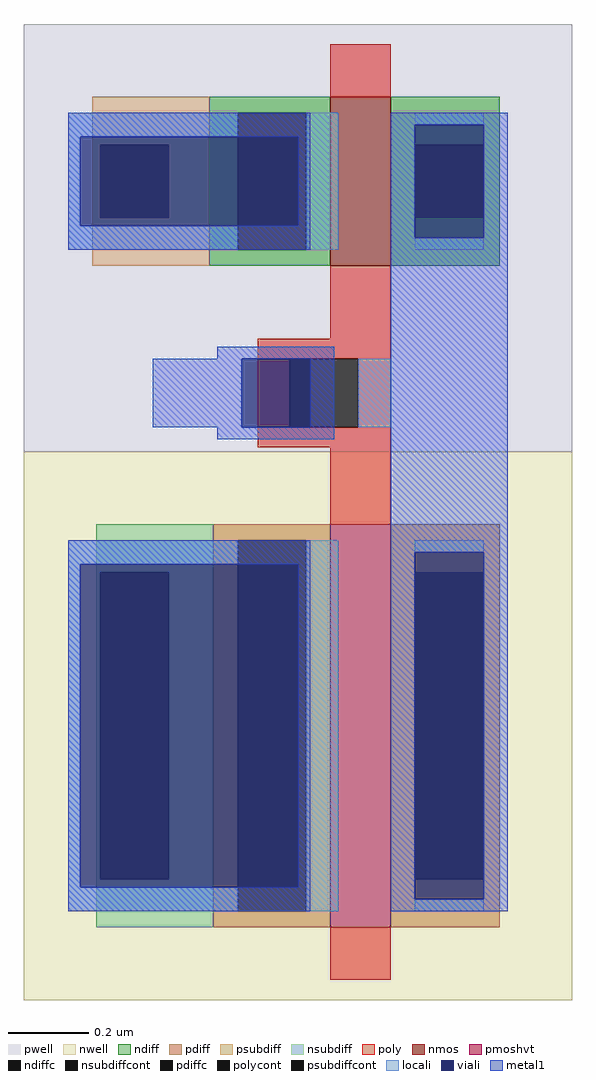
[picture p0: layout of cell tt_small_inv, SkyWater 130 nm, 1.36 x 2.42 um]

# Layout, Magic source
magic
tech sky130A
<< nwell >>
rect 334 2422 470 2558
<< pwell >>
rect 334 2558 470 2664
<< nmos >>
rect 410 2604 425 2646
<< pmoshvt >>
rect 410 2440 425 2540
<< ndiff >>
rect 380 2642 410 2646
rect 380 2608 387 2642
rect 404 2608 410 2642
rect 380 2604 410 2608
rect 425 2634 452 2646
rect 425 2616 431 2634
rect 448 2616 452 2634
rect 425 2604 452 2616
<< pdiff >>
rect 381 2536 410 2540
rect 381 2444 387 2536
rect 404 2444 410 2536
rect 381 2440 410 2444
rect 425 2528 452 2540
rect 425 2452 431 2528
rect 448 2452 452 2528
rect 425 2440 452 2452
<< ndiffc >>
rect 387 2608 404 2642
rect 431 2616 448 2634
<< pdiffc >>
rect 387 2444 404 2536
rect 431 2452 448 2528
<< psubdiff >>
rect 351 2634 380 2646
rect 351 2616 353 2634
rect 370 2616 380 2634
rect 351 2604 380 2616
<< nsubdiff >>
rect 352 2528 381 2540
rect 352 2452 353 2528
rect 370 2452 381 2528
rect 352 2440 381 2452
<< psubdiffcont >>
rect 353 2616 370 2634
<< nsubdiffcont >>
rect 353 2452 370 2528
<< poly >>
rect 410 2646 425 2659
rect 410 2586 425 2604
rect 392 2581 425 2586
rect 392 2564 400 2581
rect 417 2564 425 2581
rect 392 2559 425 2564
rect 410 2540 425 2559
rect 410 2427 425 2440
<< polycont >>
rect 400 2564 417 2581
<< locali >>
rect 345 2636 387 2642
rect 345 2614 348 2636
rect 345 2608 387 2614
rect 404 2608 412 2642
rect 431 2639 448 2642
rect 431 2608 448 2611
rect 417 2564 425 2581
rect 345 2530 387 2536
rect 345 2450 348 2530
rect 345 2444 387 2450
rect 404 2444 412 2536
rect 431 2533 448 2536
rect 431 2444 448 2447
<< viali >>
rect 348 2634 387 2636
rect 348 2616 353 2634
rect 353 2616 370 2634
rect 370 2616 387 2634
rect 348 2614 387 2616
rect 387 2614 402 2636
rect 431 2634 448 2639
rect 431 2616 448 2634
rect 431 2611 448 2616
rect 388 2564 400 2581
rect 400 2564 405 2581
rect 348 2528 387 2530
rect 348 2452 353 2528
rect 353 2452 370 2528
rect 370 2452 387 2528
rect 348 2450 387 2452
rect 387 2450 402 2530
rect 431 2528 448 2533
rect 431 2452 448 2528
rect 431 2447 448 2452
<< metal1 >>
rect 345 2636 405 2642
rect 345 2614 348 2636
rect 402 2614 405 2636
rect 345 2608 405 2614
rect 425 2639 454 2642
rect 425 2611 431 2639
rect 448 2611 454 2639
rect 382 2581 411 2584
rect 366 2564 388 2581
rect 405 2564 411 2581
rect 382 2561 411 2564
rect 345 2530 405 2536
rect 345 2450 348 2530
rect 402 2450 405 2530
rect 345 2444 405 2450
rect 425 2533 454 2611
rect 425 2447 431 2533
rect 448 2447 454 2533
rect 425 2444 454 2447
<< end >>
